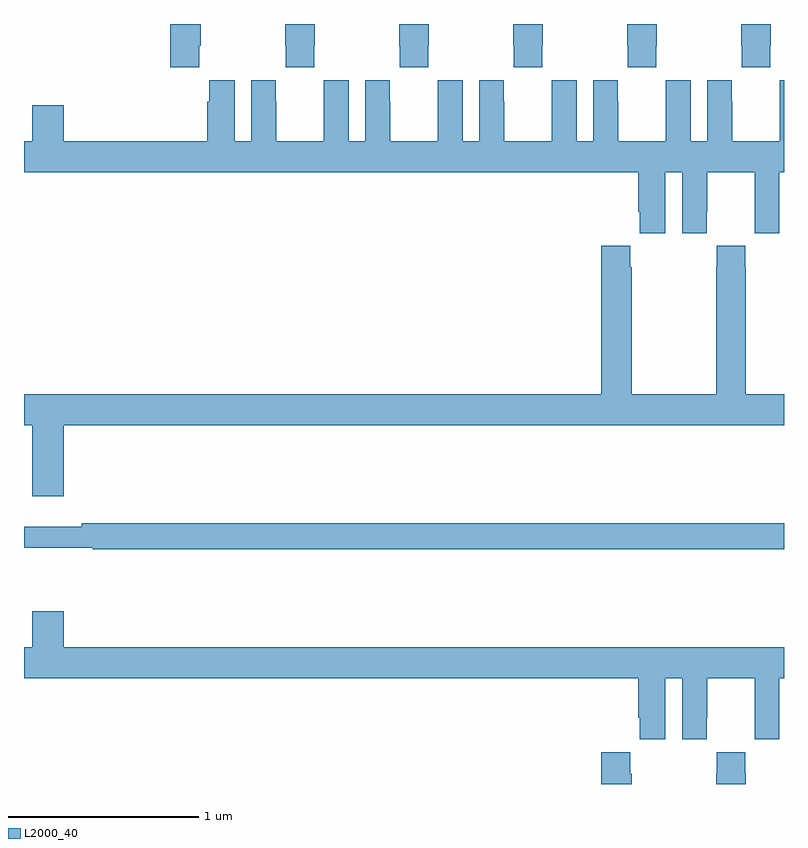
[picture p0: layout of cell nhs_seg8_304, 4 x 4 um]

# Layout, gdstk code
import gdstk
lib = gdstk.Library(unit=1e-6, precision=1e-09)
def P(c, l, *ps):  # polygons
    for p in ps: c.add(gdstk.Polygon(p, *l))
L2000_40 = (2000, 40)

nhs_seg8_304 = lib.new_cell('nhs_seg8_304')
P(nhs_seg8_304, L2000_40, [(130.975,1163.785),(130.977,1163.785),(130.977,1163.673),(131.127,1163.673),(131.127,1163.785),(131.13,1163.785),(131.13,1163.9),(130.975,1163.9)],
  [(131.727,1163.785),(131.73,1163.785),(131.73,1163.9),(131.575,1163.9),(131.575,1163.785),(131.577,1163.785),(131.577,1163.673),(131.727,1163.673)],
  [(132.327,1163.785),(132.33,1163.785),(132.33,1163.9),(132.175,1163.9),(132.175,1163.785),(132.177,1163.785),(132.177,1163.673),(132.327,1163.673)],
  [(132.927,1163.785),(132.93,1163.785),(132.93,1163.9),(132.775,1163.9),(132.775,1163.785),(132.777,1163.785),(132.777,1163.673),(132.927,1163.673)],
  [(129.923,1163.785),(129.93,1163.785),(129.93,1163.9),(129.77,1163.9),(129.77,1163.673),(129.923,1163.673)],
  [(130.527,1163.785),(130.53,1163.785),(130.53,1163.9),(130.375,1163.9),(130.375,1163.785),(130.377,1163.785),(130.377,1163.673),(130.527,1163.673)],
  [(132.376,1163.12),(132.464,1163.12),(132.464,1162.8),(132.594,1162.8),(132.594,1162.912),(132.595,1162.912),(132.595,1163.12),(132.845,1163.12),(132.845,1162.912),(132.846,1162.912),(132.846,1162.8),(132.976,1162.8),(132.976,1163.12),(133,1163.12),(133,1163.605),(132.978,1163.605),(132.978,1163.492),(132.977,1163.492),(132.977,1163.284),(132.727,1163.284),(132.727,1163.492),(132.726,1163.492),(132.726,1163.605),(132.596,1163.605),(132.596,1163.284),(132.508,1163.284),(132.508,1163.605),(132.378,1163.605),(132.378,1163.492),(132.377,1163.492),(132.377,1163.284),(132.127,1163.284),(132.127,1163.492),(132.126,1163.492),(132.126,1163.605),(131.996,1163.605),(131.996,1163.284),(131.908,1163.284),(131.908,1163.605),(131.778,1163.605),(131.778,1163.492),(131.777,1163.492),(131.777,1163.284),(131.527,1163.284),(131.527,1163.492),(131.526,1163.492),(131.526,1163.605),(131.396,1163.605),(131.396,1163.284),(131.308,1163.284),(131.308,1163.605),(131.178,1163.605),(131.178,1163.492),(131.177,1163.492),(131.177,1163.284),(130.927,1163.284),(130.927,1163.492),(130.926,1163.492),(130.926,1163.605),(130.796,1163.605),(130.796,1163.284),(130.708,1163.284),(130.708,1163.605),(130.578,1163.605),(130.578,1163.492),(130.577,1163.492),(130.577,1163.284),(130.327,1163.284),(130.327,1163.492),(130.326,1163.492),(130.326,1163.605),(130.196,1163.605),(130.196,1163.284),(130.108,1163.284),(130.108,1163.605),(129.974,1163.605),(129.974,1163.492),(129.965,1163.492),(129.965,1163.284),(129.208,1163.284),(129.208,1163.473),(129.044,1163.473),(129.044,1163.284),(129,1163.284),(129,1163.12),(132.233,1163.12),(132.233,1162.912),(132.242,1162.912),(132.242,1162.8),(132.376,1162.8)],
  [(129.208,1161.788),(133,1161.788),(133,1161.952),(132.798,1161.952),(132.798,1162.619),(132.795,1162.619),(132.795,1162.732),(132.645,1162.732),(132.645,1162.619),(132.643,1162.619),(132.643,1161.952),(132.198,1161.952),(132.198,1162.619),(132.191,1162.619),(132.191,1162.732),(132.038,1162.732),(132.038,1161.952),(129,1161.952),(129,1161.788),(129.044,1161.788),(129.044,1161.414),(129.208,1161.414)],
  [(133,1161.272),(129.304,1161.272),(129.304,1161.253),(129,1161.253),(129,1161.144),(129.362,1161.144),(129.362,1161.136),(133,1161.136)],
  [(132.376,1160.456),(132.464,1160.456),(132.464,1160.136),(132.594,1160.136),(132.594,1160.248),(132.595,1160.248),(132.595,1160.456),(132.845,1160.456),(132.845,1160.248),(132.846,1160.248),(132.846,1160.136),(132.976,1160.136),(132.976,1160.456),(133,1160.456),(133,1160.62),(129.208,1160.62),(129.208,1160.809),(129.044,1160.809),(129.044,1160.62),(129,1160.62),(129,1160.456),(132.233,1160.456),(132.233,1160.248),(132.242,1160.248),(132.242,1160.136),(132.376,1160.136)],
  [(132.798,1159.955),(132.795,1159.955),(132.795,1160.068),(132.645,1160.068),(132.645,1159.955),(132.643,1159.955),(132.643,1159.9),(132.798,1159.9)],
  [(132.198,1159.955),(132.191,1159.955),(132.191,1160.068),(132.038,1160.068),(132.038,1159.9),(132.198,1159.9)])

lib.write_gds('nhs_seg8_304.gds')
